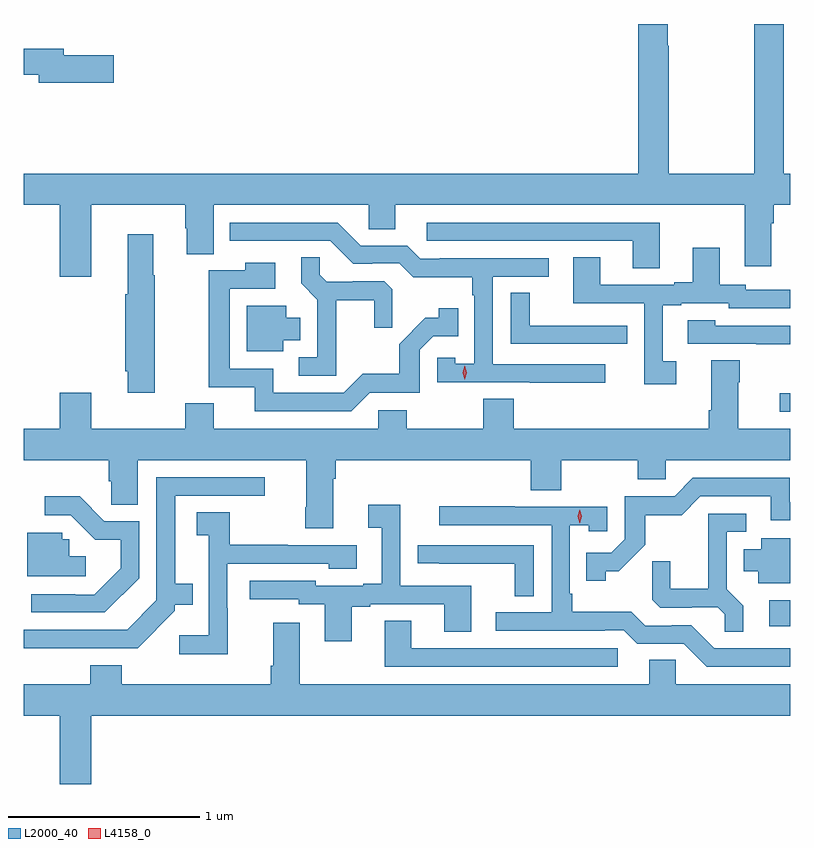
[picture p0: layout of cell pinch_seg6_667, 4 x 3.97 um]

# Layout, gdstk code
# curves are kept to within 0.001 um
import gdstk
lib = gdstk.Library(unit=1e-6, precision=1e-09)
def R(c, l, rs):  # rectangles x0, y0, x1, y1
    for r in rs: c.add(gdstk.rectangle(r[:2], r[2:], *l))
def P(c, l, *ps):  # polygons
    for p in ps: c.add(gdstk.Polygon(p, *l))
L2000_40 = (2000, 40)
L4158_0 = (4158, 0)

pinch_seg6_667 = lib.new_cell('pinch_seg6_667')
R(pinch_seg6_667, L2000_40, [(492.387,930.485,492.496,930.621), (492.441,931.605,492.496,931.701)])
P(pinch_seg6_667, L2000_40, [(488.848,932.684),(489.34,932.684),(489.34,932.562),(489.347,932.562),(489.347,932.428),(489.487,932.428),(489.487,932.684),(490.296,932.684),(490.296,932.557),(490.435,932.557),(490.435,932.684),(492.257,932.684),(492.257,932.364),(492.397,932.364),(492.397,932.588),(492.41,932.588),(492.41,932.684),(492.496,932.684),(492.496,932.848),(492.462,932.848),(492.462,933.628),(492.307,933.628),(492.307,932.848),(491.862,932.848),(491.862,933.515),(491.857,933.515),(491.857,933.628),(491.702,933.628),(491.702,932.848),(488.496,932.848),(488.496,932.684),(488.684,932.684),(488.684,932.31),(488.848,932.31)],
  [(488.965,933.464),(488.704,933.464),(488.704,933.5),(488.496,933.5),(488.496,933.364),(488.576,933.364),(488.576,933.322),(488.965,933.322)],
  [(491.815,932.592),(490.599,932.592),(490.599,932.496),(491.675,932.496),(491.675,932.353),(491.815,932.353)],
  [(491.53,931.854),(490.944,931.854),(490.944,932.31),(491.236,932.31),(491.236,932.406),(490.666,932.406),(490.666,932.403),(490.566,932.403),(490.497,932.472),(490.254,932.472),(490.134,932.592),(489.572,932.592),(489.572,932.496),(490.095,932.496),(490.215,932.376),(490.316,932.376),(490.316,932.379),(490.455,932.379),(490.528,932.306),(490.836,932.306),(490.836,932.213),(490.848,932.213),(490.848,931.855),(490.749,931.855),(490.749,931.887),(490.653,931.887),(490.653,931.758),(491.137,931.758),(491.137,931.756),(491.53,931.756)],
  [(489.18,932.317),(489.172,932.317),(489.172,932.53),(489.038,932.53),(489.038,932.217),(489.026,932.217),(489.026,931.816),(489.038,931.816),(489.038,931.704),(489.18,931.704)],
  [(491.902,931.869),(491.83,931.869),(491.83,932.16),(491.926,932.16),(491.926,932.172),(492.174,932.172),(492.174,932.145),(492.496,932.145),(492.496,932.241),(492.264,932.241),(492.264,932.268),(492.127,932.268),(492.127,932.461),(491.987,932.461),(491.987,932.281),(491.891,932.281),(491.891,932.268),(491.503,932.268),(491.503,932.411),(491.363,932.411),(491.363,932.172),(491.733,932.172),(491.733,931.749),(491.902,931.749)],
  [(490.127,932.186),(490.324,932.186),(490.324,932.043),(490.418,932.043),(490.418,932.245),(490.377,932.286),(490.212,932.286),(490.212,932.283),(490.078,932.283),(490.041,932.32),(490.041,932.411),(489.943,932.411),(489.943,932.275),(490.029,932.189),(490.029,931.89),(489.93,931.89),(489.93,931.794),(490.127,931.794)],
  [(490.302,931.704),(490.563,931.704),(490.563,931.929),(490.632,931.998),(490.763,931.998),(490.763,932.146),(490.662,932.146),(490.662,932.096),(490.592,932.096),(490.455,931.958),(490.455,931.803),(490.266,931.803),(490.167,931.704),(489.799,931.704),(489.799,931.83),(489.57,931.83),(489.57,932.247),(489.808,932.247),(489.808,932.383),(489.652,932.383),(489.652,932.343),(489.462,932.343),(489.462,931.734),(489.701,931.734),(489.701,931.608),(490.206,931.608)],
  [(491.644,932.054),(491.531,932.054),(491.531,932.055),(491.136,932.055),(491.136,932.225),(491.037,932.225),(491.037,931.959),(491.644,931.959)],
  [(489.85,931.979),(489.94,931.979),(489.94,932.095),(489.865,932.095),(489.865,932.158),(489.659,932.158),(489.659,931.922),(489.85,931.922)],
  [(492.496,932.055),(492.105,932.055),(492.105,932.083),(491.961,932.083),(491.961,931.959),(492.319,931.959),(492.319,931.957),(492.496,931.957)],
  [(490.111,931.256),(490.124,931.256),(490.124,931.352),(491.141,931.352),(491.141,931.195),(491.301,931.195),(491.301,931.352),(491.701,931.352),(491.701,931.254),(491.847,931.254),(491.847,931.352),(492.496,931.352),(492.496,931.516),(492.223,931.516),(492.223,931.76),(492.231,931.76),(492.231,931.873),(492.083,931.873),(492.083,931.612),(492.071,931.612),(492.071,931.516),(491.054,931.516),(491.054,931.673),(490.894,931.673),(490.894,931.516),(490.494,931.516),(490.494,931.614),(490.347,931.614),(490.347,931.516),(489.487,931.516),(489.487,931.649),(489.34,931.649),(489.34,931.516),(488.848,931.516),(488.848,931.705),(488.684,931.705),(488.684,931.516),(488.496,931.516),(488.496,931.352),(488.939,931.352),(488.939,931.242),(488.953,931.242),(488.953,931.12),(489.091,931.12),(489.091,931.352),(489.971,931.352),(489.971,931.108),(489.964,931.108),(489.964,930.996),(490.111,930.996)],
  [(488.759,930.372),(489.09,930.372),(489.285,930.567),(489.285,930.599),(489.377,930.599),(489.377,930.709),(489.286,930.709),(489.286,931.167),(489.754,931.167),(489.754,931.263),(489.189,931.263),(489.189,930.621),(489.036,930.468),(488.496,930.468),(488.496,930.371)],
  [(491.532,930.773),(491.602,930.773),(491.74,930.91),(491.74,931.066),(491.929,931.066),(492.027,931.164),(492.395,931.164),(492.395,931.038),(492.496,931.038),(492.496,931.134),(492.494,931.134),(492.494,931.26),(491.988,931.26),(491.892,931.164),(491.631,931.164),(491.631,930.939),(491.562,930.87),(491.431,930.87),(491.431,930.723),(491.532,930.723)],
  [(489.099,930.737),(489.099,931.035),(488.916,931.035),(488.788,931.163),(488.607,931.163),(488.607,931.065),(488.742,931.065),(488.869,930.938),(489.002,930.938),(489.002,930.788),(488.865,930.651),(488.765,930.651),(488.765,930.654),(488.535,930.654),(488.535,930.558),(488.92,930.558)],
  [(490.207,930.588),(490.303,930.588),(490.303,930.6),(490.691,930.6),(490.691,930.457),(490.831,930.457),(490.831,930.696),(490.461,930.696),(490.461,931.12),(490.293,931.12),(490.293,931),(490.364,931),(490.364,930.709),(490.268,930.709),(490.268,930.696),(490.02,930.696),(490.02,930.723),(489.675,930.723),(489.675,930.627),(489.93,930.627),(489.93,930.6),(490.067,930.6),(490.067,930.408),(490.207,930.408)],
  [(492.496,930.372),(492.099,930.372),(491.979,930.492),(491.878,930.492),(491.878,930.489),(491.739,930.489),(491.666,930.562),(491.359,930.562),(491.359,930.655),(491.346,930.655),(491.346,931.013),(491.445,931.013),(491.445,930.981),(491.541,930.981),(491.541,931.11),(491.057,931.11),(491.057,931.113),(490.665,931.113),(490.665,931.014),(491.25,931.014),(491.25,930.558),(490.959,930.558),(490.959,930.462),(491.528,930.462),(491.528,930.465),(491.628,930.465),(491.697,930.396),(491.94,930.396),(492.06,930.276),(492.496,930.276)],
  [(489.561,930.581),(489.558,930.581),(489.558,930.813),(490.089,930.813),(490.089,930.785),(490.234,930.785),(490.234,930.909),(489.875,930.909),(489.875,930.912),(489.571,930.912),(489.571,931.082),(489.399,931.082),(489.399,930.961),(489.462,930.961),(489.462,930.439),(489.309,930.439),(489.309,930.341),(489.561,930.341)],
  [(492.251,930.593),(492.165,930.679),(492.165,930.978),(492.265,930.978),(492.265,931.074),(492.068,931.074),(492.068,930.682),(491.87,930.682),(491.87,930.825),(491.776,930.825),(491.776,930.623),(491.817,930.582),(491.982,930.582),(491.982,930.585),(492.116,930.585),(492.153,930.548),(492.153,930.457),(492.251,930.457)],
  [(488.821,930.85),(488.733,930.85),(488.733,930.939),(488.697,930.939),(488.697,930.975),(488.516,930.975),(488.516,930.747),(488.821,930.747)],
  [(492.496,930.946),(492.344,930.946),(492.344,930.889),(492.254,930.889),(492.254,930.773),(492.329,930.773),(492.329,930.71),(492.496,930.71)],
  [(491.157,930.909),(490.551,930.909),(490.551,930.814),(490.663,930.814),(490.663,930.813),(491.059,930.813),(491.059,930.643),(491.157,930.643)],
  [(491.596,930.372),(490.519,930.372),(490.519,930.515),(490.379,930.515),(490.379,930.276),(491.596,930.276)],
  [(488.848,930.02),(492.496,930.02),(492.496,930.184),(491.898,930.184),(491.898,930.311),(491.759,930.311),(491.759,930.184),(489.937,930.184),(489.937,930.505),(489.797,930.505),(489.797,930.28),(489.785,930.28),(489.785,930.184),(489.008,930.184),(489.008,930.283),(488.843,930.283),(488.843,930.184),(488.496,930.184),(488.496,930.02),(488.684,930.02),(488.684,929.663),(488.848,929.663)])
P(pinch_seg6_667, L4158_0, [(491.397,931.023),(491.397,931.023),(491.387,931.059),(491.397,931.094),(491.397,931.095),(491.398,931.094),(491.407,931.059),(491.398,931.023)],
  [(490.797,931.773),(490.797,931.774),(490.787,931.809),(490.797,931.845),(490.797,931.845),(490.797,931.845),(490.807,931.809),(490.797,931.774)])

lib.write_gds('pinch_seg6_667.gds')
